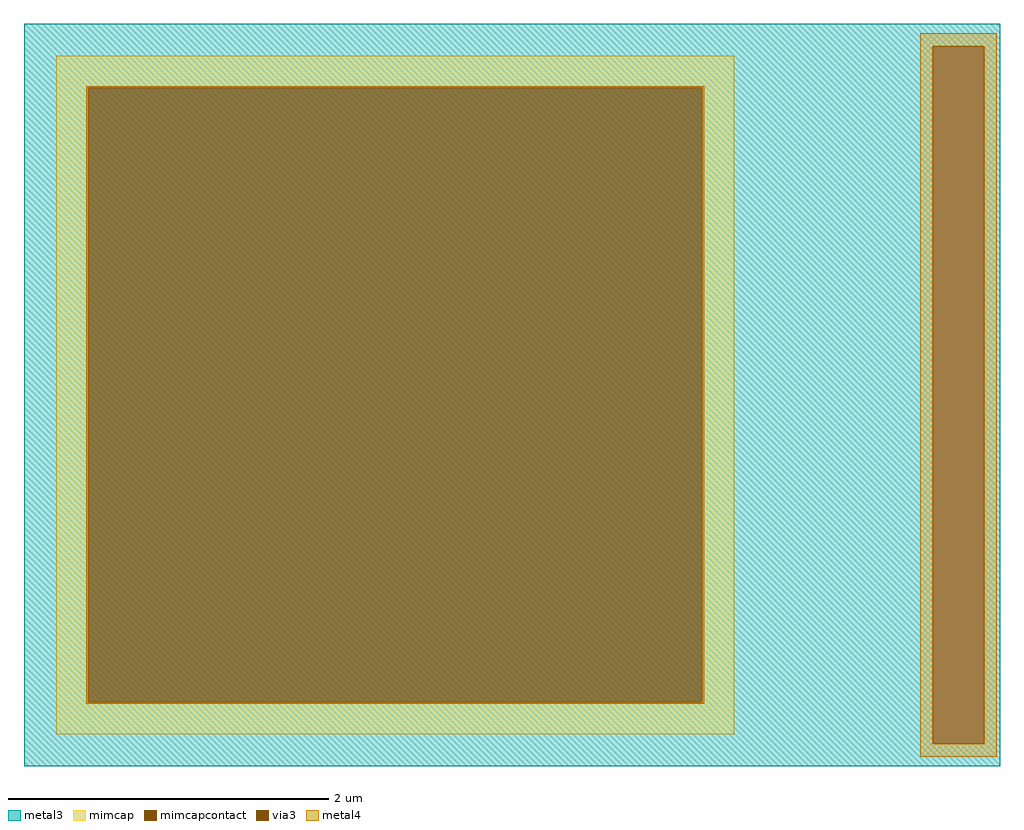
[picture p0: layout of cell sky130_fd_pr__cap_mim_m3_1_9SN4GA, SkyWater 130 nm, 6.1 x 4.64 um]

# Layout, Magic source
magic
tech sky130A
<< metal3 >>
rect -305 218 305 232
rect -305 -218 263 218
rect 295 -218 305 218
rect -305 -232 305 -218
<< via3 >>
rect 263 -218 295 218
<< mimcap >>
rect -285 192 139 212
rect -285 -192 -265 192
rect 119 -192 139 192
rect -285 -212 139 -192
<< mimcapcontact >>
rect -265 -192 119 192
<< metal4 >>
rect 255 218 303 226
rect -266 192 120 193
rect -266 -192 -265 192
rect 119 -192 120 192
rect -266 -193 120 -192
rect 255 -218 263 218
rect 295 -218 303 218
rect 255 -226 303 -218
<< properties >>
string FIXED_BBOX -305 -232 159 232
string gencell sky130_fd_pr__cap_mim_m3_1
string library sky130
string parameters w 4.25 l 4.25 val 39.355 carea 2.00 cperi 0.19 nx 1 ny 1 dummy 0 square 0 lmin 2.00 wmin 2.00 lmax 30.0 wmax 30.0 dc 0 bconnect 1 tconnect 1 ccov 100
<< end >>
